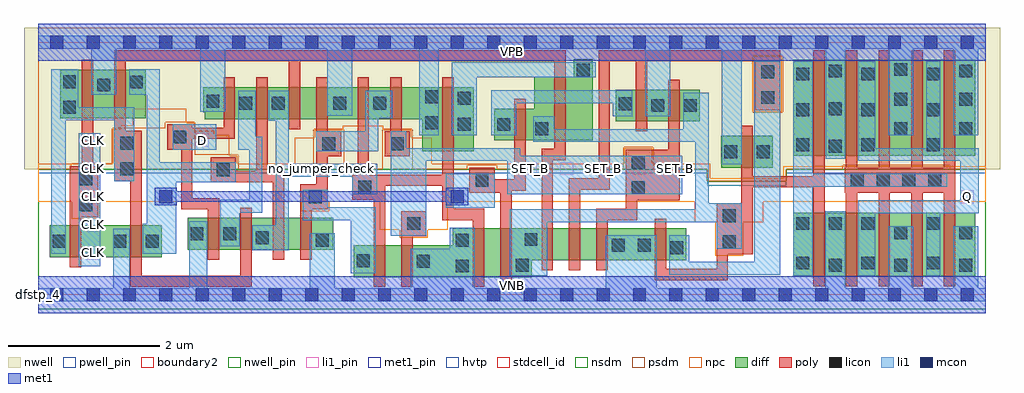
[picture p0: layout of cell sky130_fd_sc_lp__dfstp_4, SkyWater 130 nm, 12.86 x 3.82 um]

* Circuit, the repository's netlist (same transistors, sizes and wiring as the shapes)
* Copyright 2020 The SkyWater PDK Authors
*
* Licensed under the Apache License, Version 2.0 (the "License");
* you may not use this file except in compliance with the License.
* You may obtain a copy of the License at
*
*     https://www.apache.org/licenses/LICENSE-2.0
*
* Unless required by applicable law or agreed to in writing, software
* distributed under the License is distributed on an "AS IS" BASIS,
* WITHOUT WARRANTIES OR CONDITIONS OF ANY KIND, either express or implied.
* See the License for the specific language governing permissions and
* limitations under the License.
*
* SPDX-License-Identifier: Apache-2.0

.SUBCKT sky130_fd_sc_lp__dfstp_4 CLK D SET_B VGND VNB VPB VPWR Q
*.PININFO CLK:I D:I SET_B:I VGND:I VNB:I VPB:I VPWR:I Q:O
MI36 net121 M0 VGND VNB sky130_fd_pr__nfet_01v8 m=1 w=0.64U l=0.15U mult=1 sa=0.265
+ sb=0.265 sd=0.28 area=0.063 perim=1.14
MI42 db clkneg M0 VNB sky130_fd_pr__nfet_01v8 m=1 w=0.42U l=0.15U mult=1 sa=0.265
+ sb=0.265 sd=0.28 area=0.063 perim=1.14
MI44 clkneg CLK VGND VNB sky130_fd_pr__nfet_01v8 m=1 w=0.42U l=0.15U mult=1 sa=0.265
+ sb=0.265 sd=0.28 area=0.063 perim=1.14
MI39 db D VGND VNB sky130_fd_pr__nfet_01v8 m=1 w=0.42U l=0.15U mult=1 sa=0.265
+ sb=0.265 sd=0.28 area=0.063 perim=1.14
MI656 M1 M0 net104 VNB sky130_fd_pr__nfet_01v8 m=1 w=0.42U l=0.15U mult=1 sa=0.265
+ sb=0.265 sd=0.28 area=0.063 perim=1.14
MI654 net101 M1 VGND VNB sky130_fd_pr__nfet_01v8 m=1 w=0.42U l=0.15U mult=1 sa=0.265
+ sb=0.265 sd=0.28 area=0.063 perim=1.14
MI34 S0 clkpos net121 VNB sky130_fd_pr__nfet_01v8 m=1 w=0.64U l=0.15U mult=1 sa=0.265
+ sb=0.265 sd=0.28 area=0.063 perim=1.14
MI46 clkpos clkneg VGND VNB sky130_fd_pr__nfet_01v8 m=1 w=0.42U l=0.15U mult=1
+ sa=0.265 sb=0.265 sd=0.28 area=0.063 perim=1.14
MI25 net89 SET_B VGND VNB sky130_fd_pr__nfet_01v8 m=1 w=0.42U l=0.15U mult=1 sa=0.265
+ sb=0.265 sd=0.28 area=0.063 perim=1.14
MI26 S0 clkneg net81 VNB sky130_fd_pr__nfet_01v8 m=1 w=0.42U l=0.15U mult=1 sa=0.265
+ sb=0.265 sd=0.28 area=0.063 perim=1.14
MI27 net81 S1 net89 VNB sky130_fd_pr__nfet_01v8 m=1 w=0.42U l=0.15U mult=1 sa=0.265
+ sb=0.265 sd=0.28 area=0.063 perim=1.14
MI647 S1 S0 VGND VNB sky130_fd_pr__nfet_01v8 m=1 w=0.42U l=0.15U mult=1 sa=0.265
+ sb=0.265 sd=0.28 area=0.063 perim=1.14
MI655 M0 clkpos net101 VNB sky130_fd_pr__nfet_01v8 m=1 w=0.42U l=0.15U mult=1 sa=0.265
+ sb=0.265 sd=0.28 area=0.063 perim=1.14
MI657 net104 SET_B VGND VNB sky130_fd_pr__nfet_01v8 m=1 w=0.42U l=0.15U mult=1
+ sa=0.265 sb=0.265 sd=0.28 area=0.063 perim=1.14
MI652 net129 S0 VGND VNB sky130_fd_pr__nfet_01v8 m=1 w=0.84U l=0.15U mult=1 sa=0.265
+ sb=0.265 sd=0.28 area=0.063 perim=1.14
MI653 Q net129 VGND VNB sky130_fd_pr__nfet_01v8 m=4 w=0.84U l=0.15U mult=1 sa=0.265
+ sb=0.265 sd=0.28 area=0.063 perim=1.14
MI40 db D VPWR VPB sky130_fd_pr__pfet_01v8_hvt m=1 w=0.42U l=0.15U mult=1 sa=0.265
+ sb=0.265 sd=0.28 area=0.063 perim=1.14
MI38 S0 clkneg net180 VPB sky130_fd_pr__pfet_01v8_hvt m=1 w=0.84U l=0.15U mult=1
+ sa=0.265 sb=0.265 sd=0.28 area=0.063 perim=1.14
MI37 net180 M0 VPWR VPB sky130_fd_pr__pfet_01v8_hvt m=1 w=0.84U l=0.15U mult=1
+ sa=0.265 sb=0.265 sd=0.28 area=0.063 perim=1.14
MI43 db clkpos M0 VPB sky130_fd_pr__pfet_01v8_hvt m=1 w=0.42U l=0.15U mult=1 sa=0.265
+ sb=0.265 sd=0.28 area=0.063 perim=1.14
MI45 clkneg CLK VPWR VPB sky130_fd_pr__pfet_01v8_hvt m=1 w=0.64U l=0.15U mult=1
+ sa=0.265 sb=0.265 sd=0.28 area=0.063 perim=1.14
MI47 clkpos clkneg VPWR VPB sky130_fd_pr__pfet_01v8_hvt m=1 w=0.64U l=0.15U mult=1
+ sa=0.265 sb=0.265 sd=0.28 area=0.063 perim=1.14
MI659 M1 SET_B VPWR VPB sky130_fd_pr__pfet_01v8_hvt m=1 w=0.42U l=0.15U mult=1
+ sa=0.265 sb=0.265 sd=0.28 area=0.063 perim=1.14
MI662 net157 M1 VPWR VPB sky130_fd_pr__pfet_01v8_hvt m=1 w=0.42U l=0.15U mult=1
+ sa=0.265 sb=0.265 sd=0.28 area=0.063 perim=1.14
MI664 M0 clkneg net157 VPB sky130_fd_pr__pfet_01v8_hvt m=1 w=0.42U l=0.15U mult=1
+ sa=0.265 sb=0.265 sd=0.28 area=0.063 perim=1.14
MI6 net144 S1 VPWR VPB sky130_fd_pr__pfet_01v8_hvt m=1 w=0.42U l=0.15U mult=1 sa=0.265
+ sb=0.265 sd=0.28 area=0.063 perim=1.14
MI5 S0 clkpos net144 VPB sky130_fd_pr__pfet_01v8_hvt m=1 w=0.42U l=0.15U mult=1
+ sa=0.265 sb=0.265 sd=0.28 area=0.063 perim=1.14
MI24 S0 SET_B VPWR VPB sky130_fd_pr__pfet_01v8_hvt m=1 w=0.42U l=0.15U mult=1 sa=0.265
+ sb=0.265 sd=0.28 area=0.063 perim=1.14
MI648 S1 S0 VPWR VPB sky130_fd_pr__pfet_01v8_hvt m=1 w=0.42U l=0.15U mult=1 sa=0.265
+ sb=0.265 sd=0.28 area=0.063 perim=1.14
MI658 M1 M0 VPWR VPB sky130_fd_pr__pfet_01v8_hvt m=1 w=0.42U l=0.15U mult=1 sa=0.265
+ sb=0.265 sd=0.28 area=0.063 perim=1.14
MI663 net129 S0 VPWR VPB sky130_fd_pr__pfet_01v8_hvt m=1 w=1.26U l=0.15U mult=1
+ sa=0.265 sb=0.265 sd=0.28 area=0.063 perim=1.14
MI660 Q net129 VPWR VPB sky130_fd_pr__pfet_01v8_hvt m=4 w=1.26U l=0.15U mult=1
+ sa=0.265 sb=0.265 sd=0.28 area=0.063 perim=1.14
.ENDS sky130_fd_sc_lp__dfstp_4

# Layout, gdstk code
import gdstk
lib = gdstk.Library(unit=1e-6, precision=1e-09)
def R(c, l, rs):  # rectangles x0, y0, x1, y1
    for r in rs: c.add(gdstk.rectangle(r[:2], r[2:], *l))
def A(c, l, x, y, w, h, nx, ny, dx, dy):  # array of equal rectangles
    R(c, l, [(x+i*dx, y+j*dy, x+i*dx+w, y+j*dy+h) for i in range(nx) for j in range(ny)])
def P(c, l, *ps):  # polygons
    for p in ps: c.add(gdstk.Polygon(p, *l))
nwell_pin = (64, 16)
nwell = (64, 20)
diff = (65, 20)
poly = (66, 20)
licon = (66, 44)
li1_pin = (67, 16)
li1 = (67, 20)
mcon = (67, 44)
met1_pin = (68, 16)
met1 = (68, 20)
hvtp = (78, 44)
stdcell_id = (81, 4)
nsdm = (93, 44)
psdm = (94, 20)
npc = (95, 20)
pwell_pin = (122, 16)
boundary2 = (236, 0)

sky130_fd_sc_lp__dfstp_4 = lib.new_cell('sky130_fd_sc_lp__dfstp_4')
R(sky130_fd_sc_lp__dfstp_4, nwell_pin, [(0,3.085,12.48,3.33)])
P(sky130_fd_sc_lp__dfstp_4, nwell, [(12.67,3.52),(-0.19,3.52),(-0.19,1.655),(8.815,1.655),(8.815,1.495),(9.855,1.495),(9.855,1.655),(12.67,1.655)])
R(sky130_fd_sc_lp__dfstp_4, diff, [(9.945,0.245,12.345,1.085), (0.15,0.495,1.625,0.915), (1.965,0.595,3.885,1.015), (8.995,1.675,9.675,2.095), (9.945,1.835,12.345,3.095), (7.605,2.285,8.715,2.705), (0.285,2.325,1.415,2.965)])
P(sky130_fd_sc_lp__dfstp_4, diff, [(5.735,2.735),(2.175,2.735),(2.175,2.405),(2.19,2.405),(2.19,2.315),(5.055,2.315),(5.055,1.895),(5.735,1.895)],
  [(7.305,3.105),(7.055,3.105),(7.055,2.875),(6.53,2.875),(6.53,2.455),(6.005,2.455),(6.005,2.035),(7.305,2.035)],
  [(8.535,0.875),(5.46,0.875),(5.46,0.655),(4.155,0.655),(4.155,0.235),(6.5,0.235),(6.5,0.455),(8.535,0.455)])
P(sky130_fd_sc_lp__dfstp_4, poly, [(0.79,1.695),(0.72,1.695),(0.72,3.095),(0.57,3.095),(0.57,1.695),(0.415,1.695),(0.415,0.365),(0.565,0.365),(0.565,1.025),(0.79,1.025)],
  [(2.59,2.865),(2.44,2.865),(2.44,2.205),(2.03,2.205),(2.03,2.245),(1.7,2.245),(1.7,1.915),(1.88,1.915),(1.88,1.125),(2.23,1.125),(2.23,0.465),(2.38,0.465),(2.38,1.275),(2.03,1.275),(2.03,2.055),(2.59,2.055)],
  [(3.24,1.635),(3.02,1.635),(3.02,2.865),(2.87,2.865),(2.87,1.635),(2.6,1.635),(2.6,1.815),(2.27,1.815),(2.27,1.485),(3.09,1.485),(3.09,0.465),(3.24,0.465)],
  [(3.99,2.155),(3.81,2.155),(3.81,2.865),(3.66,2.865),(3.66,1.455),(3.45,1.455),(3.45,0.465),(3.6,0.465),(3.6,1.125),(3.81,1.125),(3.81,1.825),(3.99,1.825)],
  [(4.895,2.155),(4.785,2.155),(4.785,2.865),(4.635,2.865),(4.635,2.155),(4.565,2.155),(4.565,1.825),(4.895,1.825)],
  [(5.11,1.105),(4.78,1.105),(4.78,0.105),(4.93,0.105),(4.93,0.775),(5.11,0.775)],
  [(5.875,1.135),(5.47,1.135),(5.47,2.865),(5.32,2.865),(5.32,1.585),(4.355,1.585),(4.355,2.865),(4.205,2.865),(4.205,1.585),(4.135,1.585),(4.135,1.255),(4.42,1.255),(4.42,0.105),(4.57,0.105),(4.57,1.435),(5.32,1.435),(5.32,0.985),(5.725,0.985),(5.725,0.105),(5.875,0.105)],
  [(6.42,2.585),(6.27,2.585),(6.27,1.525),(6.01,1.525),(6.01,1.675),(5.68,1.675),(5.68,1.345),(6.085,1.345),(6.085,0.105),(6.235,0.105),(6.235,1.375),(6.42,1.375)],
  [(6.945,3.225),(1,3.225),(1,1.495),(1.21,1.495),(1.21,0.105),(2.81,0.105),(2.81,1.145),(2.66,1.145),(2.66,0.255),(1.36,0.255),(1.36,2.165),(1.15,2.165),(1.15,3.075),(3.3,3.075),(3.3,2.185),(3.45,2.185),(3.45,3.075),(6.795,3.075),(6.795,1.925),(6.63,1.925),(6.63,0.325),(6.78,0.325),(6.78,1.775),(6.945,1.775)],
  [(8.45,2.835),(8.3,2.835),(8.3,1.915),(7.74,1.915),(7.74,1.135),(7.35,1.135),(7.35,0.325),(7.5,0.325),(7.5,0.985),(7.89,0.985),(7.89,1.245),(8.45,1.245)],
  [(9.775,3.225),(7.38,3.225),(7.38,1.535),(6.99,1.535),(6.99,0.325),(7.14,0.325),(7.14,1.385),(7.53,1.385),(7.53,3.075),(7.87,3.075),(7.87,2.155),(8.02,2.155),(8.02,3.075),(9.445,3.075),(9.445,2.435),(9.775,2.435)],
  [(10.36,3.225),(10.21,3.225),(10.21,1.565),(9.41,1.565),(9.41,2.225),(9.26,2.225),(9.26,1.205),(8.935,1.205),(8.935,0.345),(8.27,0.345),(8.27,1.005),(8.12,1.005),(8.12,0.195),(9.085,0.195),(9.085,0.535),(9.41,0.535),(9.41,1.415),(10.21,1.415),(10.21,0.115),(10.36,0.115)],
  [(12.08,3.225),(11.93,3.225),(11.93,1.675),(11.65,1.675),(11.65,3.225),(11.5,3.225),(11.5,1.675),(11.22,1.675),(11.22,3.225),(11.07,3.225),(11.07,1.675),(10.79,1.675),(10.79,3.225),(10.64,3.225),(10.64,1.675),(10.625,1.675),(10.625,1.345),(10.64,1.345),(10.64,0.115),(10.79,0.115),(10.79,1.345),(11.07,1.345),(11.07,0.115),(11.22,0.115),(11.22,1.345),(11.5,1.345),(11.5,0.115),(11.65,0.115),(11.65,1.345),(11.93,1.345),(11.93,0.115),(12.08,0.115)])
A(sky130_fd_sc_lp__dfstp_4, licon, 10.415, 0.305, 0.17, 0.17, 3, 1, 0.86, 0)
A(sky130_fd_sc_lp__dfstp_4, licon, 9.985, 0.335, 0.17, 0.17, 3, 2, 0.86, 1.56)
A(sky130_fd_sc_lp__dfstp_4, licon, 9.985, 0.855, 0.17, 0.17, 3, 1, 0.43, 0)
A(sky130_fd_sc_lp__dfstp_4, licon, 10.705, 1.425, 0.17, 0.17, 4, 1, 0.34, 0)
A(sky130_fd_sc_lp__dfstp_4, licon, 11.275, 2.105, 0.17, 0.17, 1, 3, 0, 0.39)
A(sky130_fd_sc_lp__dfstp_4, licon, 9.985, 2.355, 0.17, 0.17, 3, 2, 0.86, 0.47)
R(sky130_fd_sc_lp__dfstp_4, licon, [(5.5,0.295,5.67,0.465), (6.29,0.305,6.46,0.475), (4.985,0.36,5.155,0.53), (4.195,0.365,4.365,0.535), (8.325,0.535,8.495,0.705), (7.555,0.57,7.725,0.74), (7.895,0.57,8.065,0.74), (9.015,0.615,9.185,0.785), (0.19,0.62,0.36,0.79), (0.985,0.62,1.155,0.79), (1.415,0.62,1.585,0.79), (3.655,0.635,3.825,0.805), (5.5,0.635,5.67,0.805), (6.405,0.645,6.575,0.815), (2.865,0.665,3.035,0.835), (2.005,0.72,2.175,0.89), (2.435,0.72,2.605,0.89), (11.275,0.735,11.445,0.905), (12.135,0.735,12.305,0.905), (4.86,0.855,5.03,1.025), (11.705,0.855,11.875,1.025), (9.015,0.955,9.185,1.125), (0.54,1.105,0.71,1.275), (3.56,1.205,3.73,1.375), (7.82,1.325,7.99,1.495), (4.215,1.335,4.385,1.505), (5.76,1.425,5.93,1.595), (0.54,1.445,0.71,1.615), (2.35,1.565,2.52,1.735), (1.08,1.575,1.25,1.745), (7.82,1.665,7.99,1.835), (9.035,1.8,9.205,1.97), (9.465,1.8,9.635,1.97), (10.415,1.875,10.585,2.045), (3.74,1.905,3.91,2.075), (4.645,1.905,4.815,2.075), (1.08,1.915,1.25,2.085), (1.78,1.995,1.95,2.165), (6.545,2.105,6.715,2.275), (12.135,2.105,12.305,2.275), (6.045,2.16,6.215,2.33), (5.525,2.165,5.695,2.335), (5.095,2.185,5.265,2.355), (10.415,2.365,10.585,2.535), (0.325,2.385,0.495,2.555), (8.075,2.41,8.245,2.58), (8.505,2.41,8.675,2.58), (7.645,2.435,7.815,2.605), (2.645,2.44,2.815,2.61), (3.075,2.44,3.245,2.61), (3.885,2.44,4.055,2.61), (4.41,2.44,4.58,2.61), (2.215,2.465,2.385,2.635), (12.135,2.495,12.305,2.665), (5.525,2.505,5.695,2.675), (9.525,2.515,9.695,2.685), (5.095,2.525,5.265,2.695), (0.775,2.68,0.945,2.85), (1.205,2.72,1.375,2.89), (0.325,2.725,0.495,2.895), (9.525,2.855,9.695,3.025), (10.415,2.865,10.585,3.035), (12.135,2.865,12.305,3.035), (7.095,2.875,7.265,3.045)])
A(sky130_fd_sc_lp__dfstp_4, li1_pin, 0.635, 0.47, 0.17, 0.17, 1, 5, 0, 0.37)
A(sky130_fd_sc_lp__dfstp_4, li1_pin, 6.395, 1.58, 0.17, 0.17, 5, 1, 0.48, 0)
R(sky130_fd_sc_lp__dfstp_4, li1_pin, [(12.155,1.21,12.325,1.38), (2.075,1.95,2.245,2.12)])
R(sky130_fd_sc_lp__dfstp_4, li1, [(0.53,0.38,0.815,2.13), (5.37,1.15,6.01,1.595), (1.77,1.915,2.34,2.245)])
P(sky130_fd_sc_lp__dfstp_4, li1, [(1.26,2.47),(0.525,2.47),(0.525,2.975),(0.17,2.975),(0.17,0.54),(0.36,0.54),(0.36,2.3),(1,2.3),(1,1.495),(1.26,1.495)],
  [(2.6,1.745),(1.6,1.745),(1.6,2.97),(1.195,2.97),(1.195,2.64),(1.43,2.64),(1.43,0.935),(1.375,0.935),(1.375,0.54),(1.815,0.54),(1.815,1.485),(2.6,1.485)],
  [(2.95,2.085),(2.865,2.085),(2.865,2.69),(2.635,2.69),(2.635,1.915),(2.78,1.915),(2.78,1.255),(2.395,1.255),(2.395,0.64),(2.65,0.64),(2.65,1.085),(2.95,1.085)],
  [(4.445,1.155),(3.81,1.155),(3.81,1.385),(3.48,1.385),(3.48,0.985),(4.115,0.985),(4.115,0.285),(4.445,0.285)],
  [(4.465,1.725),(3.3,1.725),(3.3,2.69),(3.035,2.69),(3.035,2.295),(3.13,2.295),(3.13,0.915),(2.82,0.915),(2.82,0.585),(3.3,0.585),(3.3,1.555),(4.135,1.555),(4.135,1.325),(4.465,1.325)],
  [(4.66,2.69),(4.305,2.69),(4.305,2.155),(3.66,2.155),(3.66,1.895),(4.475,1.895),(4.475,2.325),(4.66,2.325)],
  [(12.48,0.085),(12.385,0.085),(12.385,0.905),(12.055,0.905),(12.055,0.085),(11.525,0.085),(11.525,0.905),(11.195,0.905),(11.195,0.085),(10.63,0.085),(10.63,1.105),(10.37,1.105),(10.37,0.085),(8.145,0.085),(8.145,0.785),(7.475,0.785),(7.475,0.085),(5.75,0.085),(5.75,0.885),(5.42,0.885),(5.42,0.61),(4.905,0.61),(4.905,0.085),(3.905,0.085),(3.905,0.815),(3.575,0.815),(3.575,0.085),(2.225,0.085),(2.225,0.97),(1.985,0.97),(1.985,0.085),(1.205,0.085),(1.205,0.87),(0.985,0.87),(0.985,0.085),(0,0.085),(0,-0.085),(12.48,-0.085)],
  [(12.48,3.415),(0,3.415),(0,3.245),(0.695,3.245),(0.695,2.64),(1.025,2.64),(1.025,3.245),(2.135,3.245),(2.135,2.415),(2.465,2.415),(2.465,3.245),(3.805,3.245),(3.805,2.36),(4.135,2.36),(4.135,3.245),(5.015,3.245),(5.015,2.105),(5.275,2.105),(5.275,3.245),(7.995,3.245),(7.995,2.355),(8.325,2.355),(8.325,3.245),(9.005,3.245),(9.005,1.72),(9.265,1.72),(9.265,3.245),(10.375,3.245),(10.375,1.795),(10.63,1.795),(10.63,3.245),(11.195,3.245),(11.195,2.105),(11.525,2.105),(11.525,3.245),(12.055,3.245),(12.055,2.105),(12.385,2.105),(12.385,3.245),(12.48,3.245)],
  [(12.39,1.935),(11.885,1.935),(11.885,3.075),(11.695,3.075),(11.695,1.935),(11.025,1.935),(11.025,3.075),(10.8,3.075),(10.8,1.765),(12.145,1.765),(12.145,1.245),(10.8,1.245),(10.8,0.255),(11.025,0.255),(11.025,1.075),(11.695,1.075),(11.695,0.255),(11.885,0.255),(11.885,1.075),(12.39,1.075)],
  [(11.975,1.595),(10.205,1.595),(10.205,3.075),(9.945,3.075),(9.945,0.255),(10.2,0.255),(10.2,1.425),(11.975,1.425)],
  [(9.775,3.075),(9.435,3.075),(9.435,0.435),(8.575,0.435),(8.575,0.785),(8.315,0.785),(8.315,0.265),(9.775,0.265)],
  [(9.265,1.205),(8.835,1.205),(8.835,2.66),(8.495,2.66),(8.495,2.185),(6.795,2.185),(6.795,2.355),(6.52,2.355),(6.52,2.015),(8.655,2.015),(8.655,1.125),(6.21,1.125),(6.21,0.255),(6.705,0.255),(6.705,0.955),(8.935,0.955),(8.935,0.605),(9.265,0.605)],
  [(8.485,1.835),(6.35,1.835),(6.35,1.935),(4.845,1.935),(4.845,2.155),(4.645,2.155),(4.645,0.78),(5.11,0.78),(5.11,1.765),(6.18,1.765),(6.18,1.325),(8.485,1.325)],
  [(7.825,2.695),(5.965,2.695),(5.965,2.105),(6.295,2.105),(6.295,2.525),(7.565,2.525),(7.565,2.355),(7.825,2.355)],
  [(7.345,3.065),(5.445,3.065),(5.445,2.105),(5.775,2.105),(5.775,2.865),(7.345,2.865)])
A(sky130_fd_sc_lp__dfstp_4, mcon, 0.155, -0.085, 0.17, 0.17, 26, 2, 0.48, 3.33)
R(sky130_fd_sc_lp__dfstp_4, mcon, [(1.595,1.21,1.765,1.38), (5.435,1.21,5.605,1.38)])
R(sky130_fd_sc_lp__dfstp_4, met1_pin, [(0,0,12.48,0.245), (0,3.085,12.48,3.33)])
R(sky130_fd_sc_lp__dfstp_4, met1, [(0,-0.245,12.48,0.245), (0,3.085,12.48,3.575)])
P(sky130_fd_sc_lp__dfstp_4, met1, [(5.665,1.41),(5.375,1.41),(5.375,1.365),(1.825,1.365),(1.825,1.41),(1.535,1.41),(1.535,1.18),(1.825,1.18),(1.825,1.225),(5.375,1.225),(5.375,1.18),(5.665,1.18)])
P(sky130_fd_sc_lp__dfstp_4, hvtp, [(12.48,3.33),(0,3.33),(0,1.6),(8.815,1.6),(8.815,1.44),(9.855,1.44),(9.855,1.6),(12.48,1.6)])
R(sky130_fd_sc_lp__dfstp_4, stdcell_id, [(0,0,12.48,3.33)])
P(sky130_fd_sc_lp__dfstp_4, nsdm, [(12.48,1.655),(9.855,1.655),(9.855,1.495),(8.815,1.495),(8.815,1.655),(0,1.655),(0,-0.19),(12.48,-0.19)])
P(sky130_fd_sc_lp__dfstp_4, psdm, [(12.48,3.52),(9.805,3.52),(9.805,2.405),(9.415,2.405),(9.415,3.135),(9.805,3.135),(9.805,3.52),(0,3.52),(0,1.655),(0.43,1.655),(0.43,1.725),(0.97,1.725),(0.97,2.195),(1.67,2.195),(1.67,2.275),(2.06,2.275),(2.06,1.845),(2.63,1.845),(2.63,1.655),(3.63,1.655),(3.63,2.185),(4.02,2.185),(4.02,1.655),(4.535,1.655),(4.535,2.185),(4.925,2.185),(4.925,1.655),(5.65,1.655),(5.65,1.705),(6.04,1.705),(6.04,1.655),(7.71,1.655),(7.71,1.945),(8.1,1.945),(8.1,1.655),(8.815,1.655),(8.815,1.495),(9.855,1.495),(9.855,1.655),(10.595,1.655),(10.595,1.705),(12.005,1.705),(12.005,1.655),(12.48,1.655)])
R(sky130_fd_sc_lp__dfstp_4, npc, [(9.425,2.415,9.795,3.155)])
P(sky130_fd_sc_lp__dfstp_4, npc, [(12.48,1.695),(9.815,1.695),(9.815,1.535),(8.855,1.535),(8.855,1.73),(8.09,1.73),(8.09,1.935),(7.72,1.935),(7.72,1.73),(5.18,1.73),(5.18,2.07),(4.915,2.07),(4.915,2.175),(4.545,2.175),(4.545,2.225),(4.01,2.225),(4.01,2.175),(3.64,2.175),(3.64,2.07),(3.375,2.07),(3.375,1.73),(2.62,1.73),(2.62,1.835),(2.515,1.835),(2.515,2.1),(2.315,2.1),(2.315,2.16),(2.05,2.16),(2.05,2.265),(1.945,2.265),(1.945,2.45),(1.24,2.45),(1.24,2.235),(1.085,2.235),(1.085,2.185),(0.98,2.185),(0.98,1.73),(0,1.73),(0,1.23),(0.44,1.23),(0.44,1.005),(0.81,1.005),(0.81,1.23),(3.46,1.23),(3.46,1.105),(3.83,1.105),(3.83,1.23),(4.495,1.23),(4.495,0.86),(4.76,0.86),(4.76,0.755),(5.13,0.755),(5.13,0.86),(5.395,0.86),(5.395,1.23),(7.72,1.23),(7.72,1.225),(8.09,1.225),(8.09,1.23),(8.65,1.23),(8.65,0.96),(8.915,0.96),(8.915,0.515),(9.285,0.515),(9.285,0.96),(9.55,0.96),(9.55,1.23),(12.48,1.23)])
R(sky130_fd_sc_lp__dfstp_4, pwell_pin, [(0,0,12.48,0.245)])
R(sky130_fd_sc_lp__dfstp_4, boundary2, [(0,0,12.48,3.33)])
sky130_fd_sc_lp__dfstp_4.add(gdstk.Label('VNB', (6.24,0.123), layer=64, texttype=59))
sky130_fd_sc_lp__dfstp_4.add(gdstk.Label('VPB', (6.24,3.208), layer=64, texttype=5))
sky130_fd_sc_lp__dfstp_4.add(gdstk.Label('no_jumper_check', (3.725,1.66), layer=83, texttype=44))
sky130_fd_sc_lp__dfstp_4.add(gdstk.Label('dfstp_4', (0,0), layer=83, texttype=44))
sky130_fd_sc_lp__dfstp_4.add(gdstk.Label('VPWR', (6.24,3.208), layer=68, texttype=5))
sky130_fd_sc_lp__dfstp_4.add(gdstk.Label('VGND', (6.24,0.123), layer=68, texttype=5))
sky130_fd_sc_lp__dfstp_4.add(gdstk.Label('SET_B', (6.48,1.665), layer=67, texttype=5))
sky130_fd_sc_lp__dfstp_4.add(gdstk.Label('SET_B', (6.96,1.665), layer=67, texttype=5))
sky130_fd_sc_lp__dfstp_4.add(gdstk.Label('SET_B', (7.44,1.665), layer=67, texttype=5))
sky130_fd_sc_lp__dfstp_4.add(gdstk.Label('SET_B', (7.92,1.665), layer=67, texttype=5))
sky130_fd_sc_lp__dfstp_4.add(gdstk.Label('SET_B', (8.4,1.665), layer=67, texttype=5))
sky130_fd_sc_lp__dfstp_4.add(gdstk.Label('CLK', (0.72,0.555), layer=67, texttype=5))
sky130_fd_sc_lp__dfstp_4.add(gdstk.Label('CLK', (0.72,0.925), layer=67, texttype=5))
sky130_fd_sc_lp__dfstp_4.add(gdstk.Label('CLK', (0.72,1.295), layer=67, texttype=5))
sky130_fd_sc_lp__dfstp_4.add(gdstk.Label('CLK', (0.72,1.665), layer=67, texttype=5))
sky130_fd_sc_lp__dfstp_4.add(gdstk.Label('CLK', (0.72,2.035), layer=67, texttype=5))
sky130_fd_sc_lp__dfstp_4.add(gdstk.Label('D', (2.16,2.035), layer=67, texttype=5))
sky130_fd_sc_lp__dfstp_4.add(gdstk.Label('Q', (12.24,1.295), layer=67, texttype=5))

lib.write_gds('sky130_fd_sc_lp__dfstp_4.gds')
